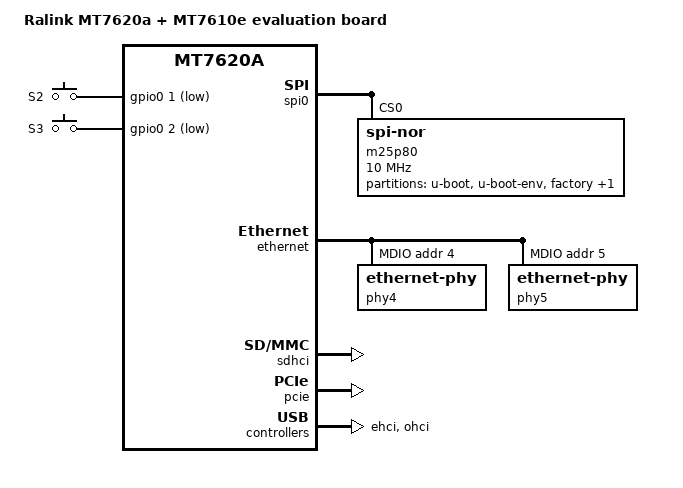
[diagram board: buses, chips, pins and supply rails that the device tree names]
/dts-v1/;

#include "mt7620a.dtsi"

/ {
	compatible = "ralink,mt7620a-eval-board", "ralink,mt7620a-soc";
	model = "Ralink MT7620a + MT7610e evaluation board";

	gpio-keys-polled {
		compatible = "gpio-keys";
		#address-cells = <1>;
		#size-cells = <0>;
		poll-interval = <20>;

		s2 {
			label = "S2";
			gpios = <&gpio0 1 1>;
			linux,code = <0x100>;
		};

		s3 {
			label = "S3";
			gpios = <&gpio0 2 1>;
			linux,code = <0x101>;
		};
	};
};

&spi0 {
	status = "okay";

	m25p80@0 {
		#address-cells = <1>;
		#size-cells = <1>;
		compatible = "jedec,spi-nor";
		reg = <0>;
		linux,modalias = "m25p80", "en25q64";
		spi-max-frequency = <10000000>;

		partition@0 {
			label = "u-boot";
			reg = <0x0 0x30000>;
			read-only;
		};

		partition@30000 {
			label = "u-boot-env";
			reg = <0x30000 0x10000>;
			read-only;
		};

		factory: partition@40000 {
			label = "factory";
			reg = <0x40000 0x10000>;
			read-only;
		};

		partition@50000 {
			label = "firmware";
			reg = <0x50000 0x7b0000>;
		};
	};
};

&pinctrl {
	state_default: pinctrl0 {
		gpio {
			ralink,group = "i2c", "uartf";
			ralink,function = "gpio";
		};
	};
};

&ethernet {
	status = "okay";
	pinctrl-names = "default";
	pinctrl-0 = <&rgmii1_pins &rgmii2_pins &mdio_pins>;
	mediatek,portmap = "llllw";

	port@4 {
		status = "okay";
		phy-mode = "rgmii";
		phy-handle = <&phy4>;
	};

	port@5 {
		status = "okay";
		phy-mode = "rgmii";
		phy-handle = <&phy5>;
	};

	mdio-bus {
		status = "okay";

		phy4: ethernet-phy@4 {
			reg = <4>;
			phy-mode = "rgmii";
		};

		phy5: ethernet-phy@5 {
			reg = <5>;
			phy-mode = "rgmii";
		};
	};
};

&gsw {
	mediatek,port4 = "gmac";
};

&sdhci {
	status = "okay";
};

&pcie {
	status = "okay";
};

&ehci {
	status = "okay";
};

&ohci {
	status = "okay";
};
